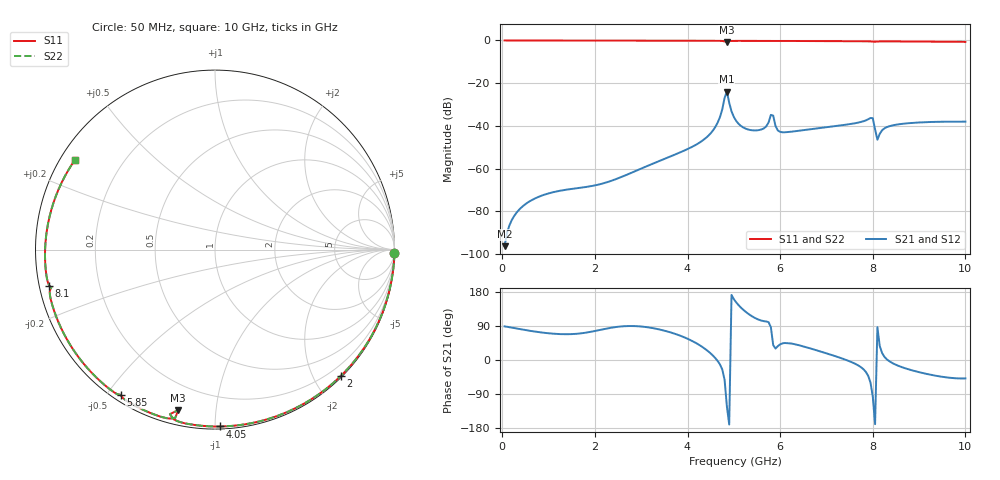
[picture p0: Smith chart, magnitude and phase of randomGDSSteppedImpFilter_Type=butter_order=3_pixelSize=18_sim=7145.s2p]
! freq	dB(S11)	phase(S11)	dB(S12)	phase(S12)
!  dB(S21)	phase(S21)	dB(S22)	phase(S22)
!S-par simulation data
#  GHz  S  DB  R 50
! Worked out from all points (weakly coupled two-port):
!   200 points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, 50 MHz to 10 GHz, reference 50 ohm
!   highest |S21| = -23.88 dB at 4.85 GHz (marker M1); lowest = -96.2 dB at 50 MHz (marker M2)
!   lowest |S11| = -0.7 dB at 4.85 GHz (marker M3), VSWR 23.22, Z = 3.52 - j39.7 ohm
!   |S11| at or under -10 dB: nowhere
!   |S22| runs from -0.7 to 0.0 dB; largest |S21 - S12| = 0
!   S11 on the Smith chart (normalised r, x): 50 MHz: open; 2 GHz: 0.02, -2.41; 4.05 GHz: 0.01, -1.03; 5.85 GHz: 0.02, -0.54; 8.1 GHz: 0.03, -0.11; 10 GHz: 0.04, +0.29
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0.05  -0.00 -1.2  -96.23 88.8  -96.23 88.8  -0.00 -1.2
0.3  -0.01 -6.9  -80.78 83.2  -80.78 83.2  -0.01 -6.9
0.95  -0.03 -21.7  -71.85 71.2  -71.85 71.2  -0.03 -21.7
1.75  -0.05 -39.6  -68.72 71.1  -68.72 71.1  -0.05 -39.6
2  -0.06 -45.1  -67.80 76.5  -67.80 76.5  -0.06 -45.1
3.4  -0.10 -75.0  -56.30 80.4  -56.30 80.4  -0.10 -75.0
4.05  -0.12 -88.4  -50.29 53.2  -50.29 53.2  -0.12 -88.4
4.6  -0.16 -99.8  -40.46 5.0  -40.46 5.0  -0.16 -99.8
4.7  -0.18 -102.2  -35.85 -11.7  -35.85 -11.7  -0.18 -102.2
4.85  -0.75 -102.9  -23.88 -123.0  -23.88 -123.0  -0.75 -102.9
4.95  -0.23 -104.9  -33.16 171.6  -33.16 171.6  -0.23 -104.9
5.05  -0.19 -107.4  -37.61 152.2  -37.61 152.2  -0.19 -107.4
5.25  -0.19 -111.6  -41.20 127.8  -41.20 127.8  -0.19 -111.6
5.55  -0.20 -117.7  -41.90 105.8  -41.90 105.8  -0.20 -117.7
5.85  -0.31 -123.0  -35.17 39.1  -35.17 39.1  -0.31 -123.0
5.9  -0.24 -124.1  -40.04 30.2  -40.04 30.2  -0.24 -124.1
6  -0.23 -126.2  -42.75 41.3  -42.75 41.3  -0.23 -126.2
6.7  -0.27 -140.0  -41.42 28.8  -41.42 28.8  -0.27 -140.0
8  -0.54 -166.8  -36.38 -96.3  -36.38 -96.3  -0.54 -166.8
8.1  -0.49 -167.8  -46.42 86.6  -46.42 86.6  -0.49 -167.7
8.35  -0.45 -173.4  -40.17 -2.6  -40.17 -2.6  -0.45 -173.4
10  -0.66 147.5  -37.97 -48.7  -37.97 -48.7  -0.66 147.5
